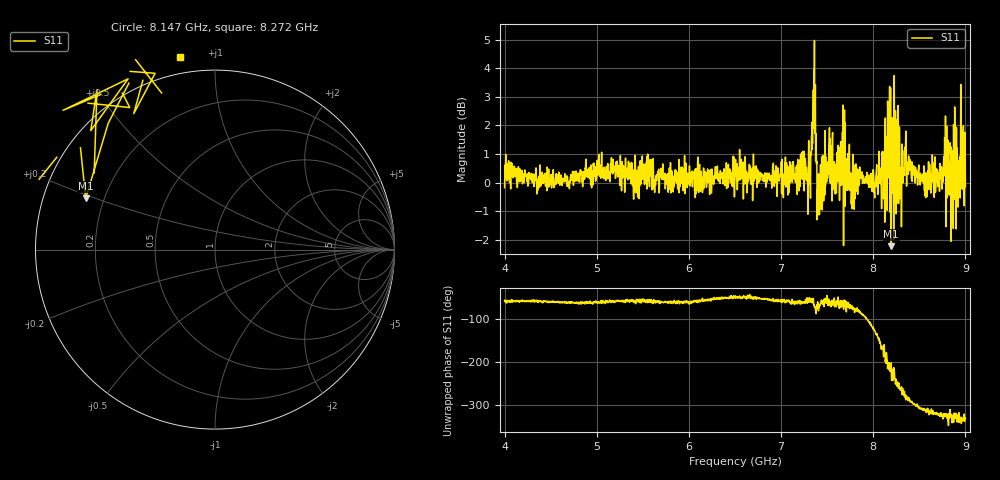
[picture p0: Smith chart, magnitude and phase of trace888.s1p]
! Created with skrf 1.8.0 (http://scikit-rf.org).
# Hz S RI R 50.0
!freq ReS11 ImS11
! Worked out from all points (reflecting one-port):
!   1601 points, 4 GHz to 9 GHz, reference 50 ohm
!   lowest |S11| = -2.2 dB at 8.194 GHz (marker M1), VSWR 7.89, Z = 6.56 + j9.41 ohm
!   phase of S11 starts at -56 deg and turns -275 deg over the sweep
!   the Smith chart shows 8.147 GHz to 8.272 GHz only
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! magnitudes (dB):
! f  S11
! 4 GHz  -0.2
! 4.625 GHz  -0.1
! 5.25 GHz  -0.1
! 5.875 GHz  0.3
! 6.5 GHz  0.3
! 7.125 GHz  0.7
! 7.294 GHz  0.1
! 7.356 GHz  3.9
! 7.412 GHz  -0.8
! 7.534 GHz  0.0
! 7.591 GHz  -0.1
! 7.65 GHz  1.3
! 7.75 GHz  0.2
! 8.034 GHz  0.5
! 8.128 GHz  1.5
! 8.156 GHz  2.9
! 8.194 GHz  -2.2
! 8.209 GHz  1.2
! 8.253 GHz  0.8
! 8.316 GHz  0.1
! 8.334 GHz  0.4
! 8.375 GHz  0.7
! 8.556 GHz  -0.3
! 8.762 GHz  0.7
! 8.844 GHz  -2.0
! 8.919 GHz  -0.8
! 8.956 GHz  -0.1
! 9 GHz  -0.1
